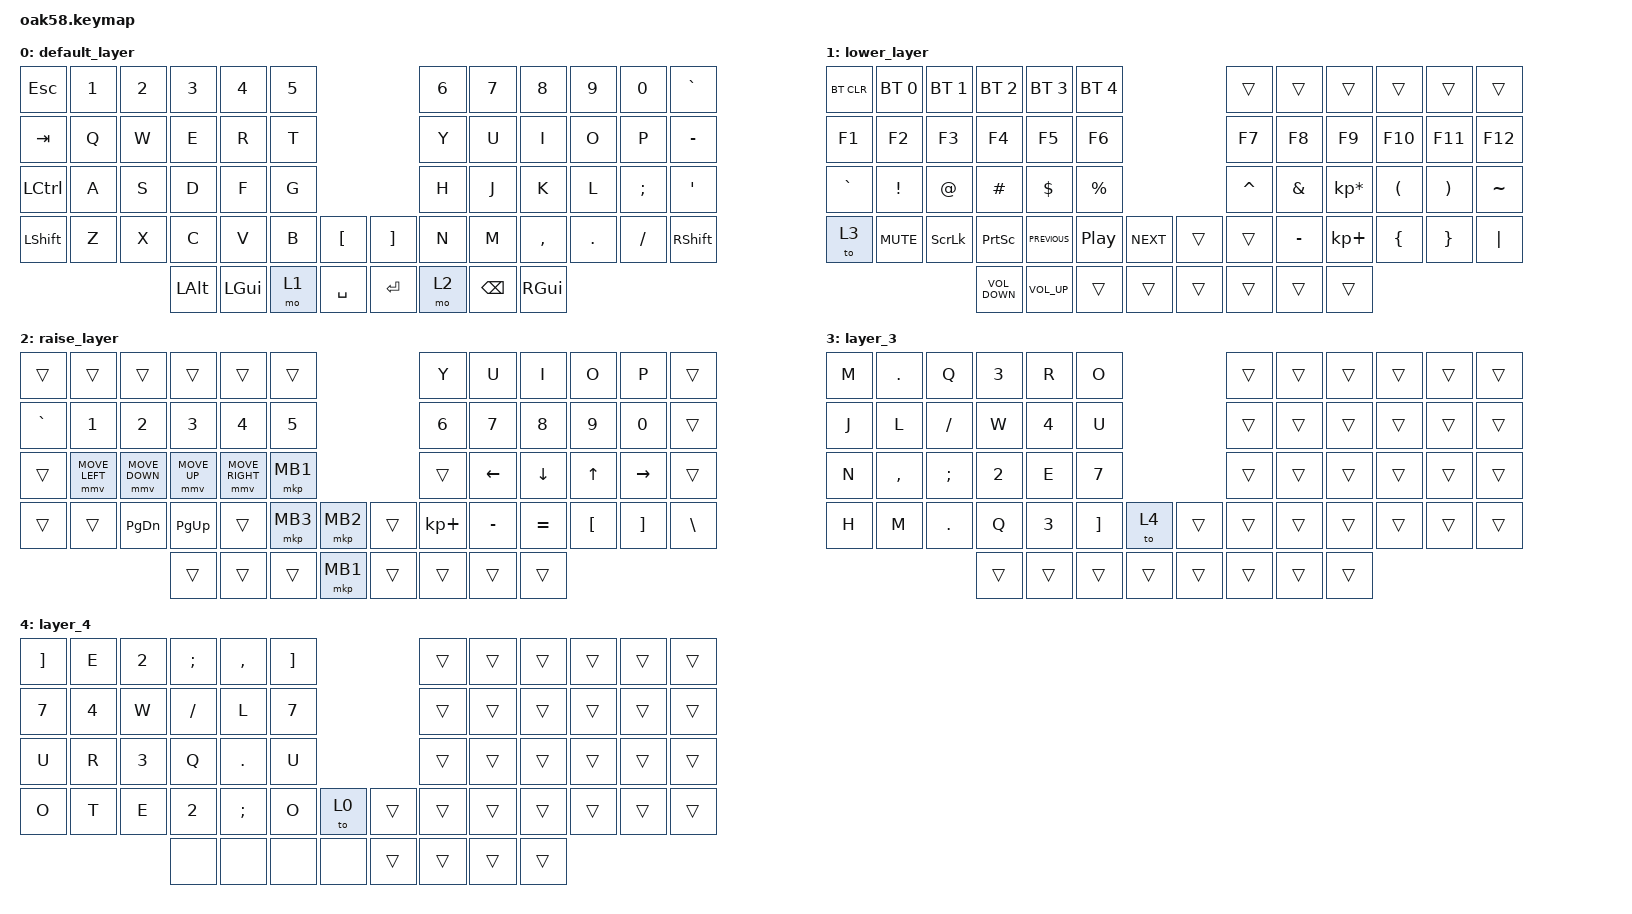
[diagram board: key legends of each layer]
/*
 * Copyright (c) 2020 The ZMK Contributors
 *
 * SPDX-License-Identifier: MIT
 */

#include <dt-bindings/zmk/mouse.h>
#include <behaviors.dtsi>
#include <dt-bindings/zmk/bt.h>
#include <dt-bindings/zmk/keys.h>
#include <dt-bindings/zmk/pointing.h>

/ {
    keymap {
        compatible = "zmk,keymap";

        default_layer {
            // ------------------------------------------------------------------------------------------------------------
            // |  ESC  |  1  |  2  |  3   |  4   |  5   |                   |  6   |  7    |  8    |  9   |   0   |   `   |
            // |  TAB  |  Q  |  W  |  E   |  R   |  T   |                   |  Y   |  U    |  I    |  O   |   P   |   -   |
            // |  CTRL |  A  |  S  |  D   |  F   |  G   |                   |  H   |  J    |  K    |  L   |   ;   |   '   |
            // | SHIFT |  Z  |  X  |  C   |  V   |  B   |   "["  |  |  "]"  |  N   |  M    |  ,    |  .   |   /   | SHIFT |
            //                     | ALT  | GUI  | LOWER|  SPACE |  | ENTER | RAISE| BSPC  | GUI   |

            bindings = <
&kp ESC    &kp N1  &kp N2  &kp N3    &kp N4    &kp N5                       &kp N6  &kp N7    &kp N8     &kp N9   &kp N0    &kp GRAVE
&kp TAB    &kp Q   &kp W   &kp E     &kp R     &kp T                        &kp Y   &kp U     &kp I      &kp O    &kp P     &kp MINUS
&kp LCTRL  &kp A   &kp S   &kp D     &kp F     &kp G                        &kp H   &kp J     &kp K      &kp L    &kp SEMI  &kp SQT
&kp LSHFT  &kp Z   &kp X   &kp C     &kp V     &kp B   &kp LBKT   &kp RBKT  &kp N   &kp M     &kp COMMA  &kp DOT  &kp FSLH  &kp RSHFT
                           &kp LALT  &kp LGUI  &mo 1   &kp SPACE  &kp RET   &mo 2   &kp BSPC  &kp RGUI
            >;
        };

        lower_layer {
            // ------------------------------------------------------------------------------------------------------------
            // | BTCLR | BT1 | BT2 |  BT3 |  BT4 |  BT5 |                   |      |       |       |      |       |       |
            // |  F1   |  F2 |  F3 |  F4  |  F5  |  F6  |                   |  F7  |  F8   |  F9   |  F10 |  F11  |  F12  |
            // |   `   |  !  |  @  |  #   |  $   |  %   |                   |  ^   |  &    |  *    |  (   |   )   |   ~   |
            // |       |     |     |      |      |      |        |  |       |      |  _    |  +    |  {   |   }   |  "|"  |
            //                     |      |      |      |        |  |       |      |       |       |

            bindings = <
&bt BT_CLR  &bt BT_SEL 0  &bt BT_SEL 1    &bt BT_SEL 2       &bt BT_SEL 3     &bt BT_SEL 4                          &trans     &trans     &trans           &trans    &trans    &trans
&kp F1      &kp F2        &kp F3          &kp F4             &kp F5           &kp F6                                &kp F7     &kp F8     &kp F9           &kp F10   &kp F11   &kp F12
&kp GRAVE   &kp EXCL      &kp AT          &kp HASH           &kp DOLLAR       &kp PRCNT                             &kp CARET  &kp AMPS   &kp KP_MULTIPLY  &kp LPAR  &kp RPAR  &kp TILDE
&to 3       &kp C_MUTE    &kp SCROLLLOCK  &kp PRINTSCREEN    &kp C_PREVIOUS   &kp C_PLAY_PAUSE  &kp C_NEXT  &trans  &trans     &kp MINUS  &kp KP_PLUS      &kp LBRC  &kp RBRC  &kp PIPE
                                          &kp C_VOLUME_DOWN  &kp C_VOLUME_UP  &trans            &trans      &trans  &trans     &trans     &trans
            >;
        };

        raise_layer {
            // ------------------------------------------------------------------------------------------------------------
            // |       |     |     |      |      |      |                   |   Y   |   U    |   I    |  O    |   P    |       |
            // |   `   |  1  |  2  |  3   |  4   |  5   |                   |  6   |   7   |   8   |  9   |   0   |       |
            // |   F1  |  F2 |  F3 |  F4  |  F5  |  F6  |                   |      |   <-  |   v   |  ^   |  ->   |       |
            // |   F7  |  F8 |  F9 |  F10 |  F11 |  F12 |        |  |       |  +   |   -   |   =   |  [   |   ]   |   \   |
            //                     |      |      |      |        |  |       |      |       |       |

            bindings = <
&trans     &trans          &trans          &trans        &trans           &trans                      &kp Y        &kp U      &kp I      &kp O     &kp P      &trans
&kp GRAVE  &kp N1          &kp N2          &kp N3        &kp N4           &kp N5                      &kp N6       &kp N7     &kp N8     &kp N9    &kp N0     &trans
&trans     &mmv MOVE_LEFT  &mmv MOVE_DOWN  &mmv MOVE_UP  &mmv MOVE_RIGHT  &mkp MB1                    &trans       &kp LEFT   &kp DOWN   &kp UP    &kp RIGHT  &trans
&trans     &trans          &kp PAGE_DOWN   &kp PAGE_UP   &trans           &mkp MB3  &mkp MB2  &trans  &kp KP_PLUS  &kp MINUS  &kp EQUAL  &kp LBKT  &kp RBKT   &kp BSLH
                                           &trans        &trans           &trans    &mkp MB1  &trans  &trans       &trans     &trans
            >;
        };

        layer_3 {
            bindings = <
&kp M  &kp PERIOD  &kp Q          &kp NUMBER_3  &kp R         &kp O                              &trans  &trans  &trans  &trans  &trans  &trans
&kp J  &kp L       &kp SLASH      &kp W         &kp NUMBER_4  &kp U                              &trans  &trans  &trans  &trans  &trans  &trans
&kp N  &kp COMMA   &kp SEMICOLON  &kp NUMBER_2  &kp E         &kp N7                             &trans  &trans  &trans  &trans  &trans  &trans
&kp H  &kp M       &kp PERIOD     &kp Q         &kp NUMBER_3  &kp RIGHT_BRACKET  &to 4   &trans  &trans  &trans  &trans  &trans  &trans  &trans
                                  &trans        &trans        &trans             &trans  &trans  &trans  &trans  &trans
            >;
        };

        layer_4 {
            bindings = <
&kp RBKT  &kp E   &kp N2  &kp SEMI  &kp COMMA  &kp RBKT                 &trans  &trans  &trans  &trans  &trans  &trans
&kp N7    &kp N4  &kp W   &kp FSLH  &kp L      &kp N7                   &trans  &trans  &trans  &trans  &trans  &trans
&kp U     &kp R   &kp N3  &kp Q     &kp DOT    &kp U                    &trans  &trans  &trans  &trans  &trans  &trans
&kp O     &kp T   &kp E   &kp N2    &kp SEMI   &kp O     &to 0  &trans  &trans  &trans  &trans  &trans  &trans  &trans
                          &none     &none      &none     &none  &trans  &trans  &trans  &trans
            >;
        };
    };
};
